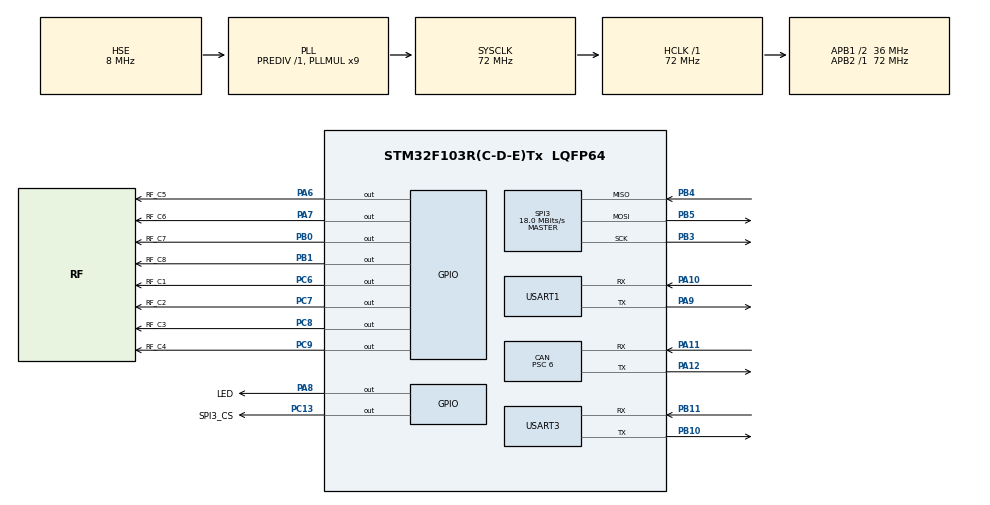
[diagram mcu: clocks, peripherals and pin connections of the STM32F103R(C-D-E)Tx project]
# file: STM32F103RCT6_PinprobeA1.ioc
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CAN.ABOM=ENABLE
CAN.AWUM=ENABLE
CAN.BS1=CAN_BS1_12TQ
CAN.CalculateBaudRate=428571
CAN.CalculateTimeBit=2333
CAN.CalculateTimeQuantum=166.66666666666669
CAN.NART=ENABLE
CAN.Prescaler=6
CAN.TXFP=ENABLE
Dma.Request0=USART1_RX
Dma.Request1=USART1_TX
Dma.Request2=USART3_RX
Dma.Request3=USART3_TX
Dma.Request4=SPI3_TX
Dma.Request5=SPI3_RX
Dma.SPI3_RX.5.Direction=DMA_PERIPH_TO_MEMORY
Dma.SPI3_RX.5.Instance=DMA2_Channel1
Dma.SPI3_RX.5.MemDataAlignment=DMA_MDATAALIGN_BYTE
Dma.SPI3_RX.5.MemInc=DMA_MINC_ENABLE
Dma.SPI3_RX.5.Mode=DMA_NORMAL
Dma.SPI3_RX.5.PeriphDataAlignment=DMA_PDATAALIGN_BYTE
Dma.SPI3_RX.5.PeriphInc=DMA_PINC_DISABLE
Dma.SPI3_RX.5.Priority=DMA_PRIORITY_LOW
Dma.SPI3_TX.4.Direction=DMA_MEMORY_TO_PERIPH
Dma.SPI3_TX.4.Instance=DMA2_Channel2
Dma.SPI3_TX.4.MemDataAlignment=DMA_MDATAALIGN_BYTE
Dma.SPI3_TX.4.MemInc=DMA_MINC_ENABLE
Dma.SPI3_TX.4.Mode=DMA_NORMAL
Dma.SPI3_TX.4.PeriphDataAlignment=DMA_PDATAALIGN_BYTE
Dma.SPI3_TX.4.PeriphInc=DMA_PINC_DISABLE
Dma.SPI3_TX.4.Priority=DMA_PRIORITY_LOW
Dma.USART1_RX.0.Direction=DMA_PERIPH_TO_MEMORY
Dma.USART1_RX.0.Instance=DMA1_Channel5
Dma.USART1_RX.0.MemDataAlignment=DMA_MDATAALIGN_BYTE
Dma.USART1_RX.0.MemInc=DMA_MINC_ENABLE
Dma.USART1_RX.0.Mode=DMA_NORMAL
Dma.USART1_RX.0.PeriphDataAlignment=DMA_PDATAALIGN_BYTE
Dma.USART1_RX.0.PeriphInc=DMA_PINC_DISABLE
Dma.USART1_RX.0.Priority=DMA_PRIORITY_HIGH
Dma.USART1_TX.1.Direction=DMA_MEMORY_TO_PERIPH
Dma.USART1_TX.1.Instance=DMA1_Channel4
Dma.USART1_TX.1.MemDataAlignment=DMA_MDATAALIGN_BYTE
Dma.USART1_TX.1.MemInc=DMA_MINC_ENABLE
Dma.USART1_TX.1.Mode=DMA_NORMAL
Dma.USART1_TX.1.PeriphDataAlignment=DMA_PDATAALIGN_BYTE
Dma.USART1_TX.1.PeriphInc=DMA_PINC_DISABLE
Dma.USART1_TX.1.Priority=DMA_PRIORITY_LOW
Dma.USART3_RX.2.Direction=DMA_PERIPH_TO_MEMORY
Dma.USART3_RX.2.Instance=DMA1_Channel3
Dma.USART3_RX.2.MemDataAlignment=DMA_MDATAALIGN_BYTE
Dma.USART3_RX.2.MemInc=DMA_MINC_ENABLE
Dma.USART3_RX.2.Mode=DMA_NORMAL
Dma.USART3_RX.2.PeriphDataAlignment=DMA_PDATAALIGN_BYTE
Dma.USART3_RX.2.PeriphInc=DMA_PINC_DISABLE
Dma.USART3_RX.2.Priority=DMA_PRIORITY_HIGH
Dma.USART3_TX.3.Direction=DMA_MEMORY_TO_PERIPH
Dma.USART3_TX.3.Instance=DMA1_Channel2
Dma.USART3_TX.3.MemDataAlignment=DMA_MDATAALIGN_BYTE
Dma.USART3_TX.3.MemInc=DMA_MINC_ENABLE
Dma.USART3_TX.3.Mode=DMA_NORMAL
Dma.USART3_TX.3.PeriphDataAlignment=DMA_PDATAALIGN_BYTE
Dma.USART3_TX.3.PeriphInc=DMA_PINC_DISABLE
Dma.USART3_TX.3.Priority=DMA_PRIORITY_LOW
FREERTOS.Queues01=CanRxQueue,16,CanFrame_t,0,Dynamic,NULL,NULL;CanTxQueue,16,CanFrame_t,0,Dynamic,NULL,NULL
FREERTOS.Tasks01=defaultTask,8,128,StartDefaultTask,Default,NULL,Dynamic,NULL,NULL;SCPI,8,1024,SCPITask,As weak,NULL,Dynamic,NULL,NULL;ModBus,26,512,ModBusTask,As weak,NULL,Dynamic,NULL,NULL;WatchDog,8,128,WatchDogTask,As weak,NULL,Dynamic,NULL,NULL;StateVector,25,512,StateVectorTask,As weak,NULL,Dynamic,NULL,NULL;CANRx,26,512,CANRxTask,As weak,NULL,Dynamic,NULL,NULL;CANTx,24,512,CANTxTask,As weak,NULL,Dynamic,NULL,NULL;CANProtocol,25,768,CANProtocolTask,As weak,NULL,Dynamic,NULL,NULL;Snapshot,8,512,SnapshotTask,As weak,NULL,Dynamic,NULL,NULL
FREERTOS.Timers01=SysTimer,SysTimerCallback,osTimerPeriodic,As weak,NULL,Dynamic,NULL
FREERTOS.configTOTAL_HEAP_SIZE=28672
IWDG.Prescaler=IWDG_PRESCALER_64
IWDG.Reload=2500
Mcu.Family=STM32F1
Mcu.Name=STM32F103R(C-D-E)Tx
Mcu.Package=LQFP64
NVIC.CAN1_RX1_IRQn=true\:5\:0\:false\:false\:true\:true\:true\:true\:true
NVIC.CAN1_SCE_IRQn=true\:5\:0\:false\:false\:true\:true\:true\:true\:true
NVIC.DMA1_Channel2_IRQn=true\:5\:0\:true\:false\:true\:true\:false\:true\:true
NVIC.DMA1_Channel3_IRQn=true\:5\:0\:true\:false\:true\:true\:false\:true\:true
NVIC.DMA1_Channel4_IRQn=true\:5\:0\:true\:false\:true\:true\:false\:true\:true
NVIC.DMA1_Channel5_IRQn=true\:5\:0\:true\:false\:true\:true\:false\:true\:true
NVIC.DMA2_Channel1_IRQn=true\:5\:0\:false\:false\:true\:true\:false\:true\:true
NVIC.DMA2_Channel2_IRQn=true\:5\:0\:false\:false\:true\:true\:false\:true\:true
NVIC.PriorityGroup=NVIC_PRIORITYGROUP_4
NVIC.SPI3_IRQn=true\:5\:0\:false\:false\:true\:true\:true\:true\:true
NVIC.TIM1_UP_IRQn=true\:5\:0\:false\:false\:true\:true\:true\:true\:true
NVIC.TIM5_IRQn=true\:15\:0\:true\:false\:true\:false\:false\:true\:true
NVIC.TimeBase=TIM5_IRQn
NVIC.TimeBaseIP=TIM5
NVIC.USART1_IRQn=true\:6\:0\:true\:false\:true\:true\:false\:true\:true
NVIC.USART3_IRQn=true\:6\:0\:true\:false\:true\:true\:false\:true\:true
NVIC.USB_HP_CAN1_TX_IRQn=true\:5\:0\:false\:false\:true\:true\:true\:true\:true
NVIC.USB_LP_CAN1_RX0_IRQn=true\:5\:0\:false\:false\:true\:true\:true\:true\:true
PA10.Mode=Asynchronous
PA10.Signal=USART1_RX
PA11.Mode=CAN_Activate
PA11.Signal=CAN_RX
PA12.Mode=CAN_Activate
PA12.Signal=CAN_TX
PA13.Mode=Serial_Wire
PA13.Signal=SYS_JTMS-SWDIO
PA14.Mode=Serial_Wire
PA14.Signal=SYS_JTCK-SWCLK
PA6.GPIO_Label=RF_C5
PA6.Signal=GPIO_Output
PA7.GPIO_Label=RF_C6
PA7.Signal=GPIO_Output
PA8.GPIO_Label=LED
PA8.Signal=GPIO_Output
PA9.Mode=Asynchronous
PA9.Signal=USART1_TX
PB0.GPIO_Label=RF_C7
PB0.Signal=GPIO_Output
PB1.GPIO_Label=RF_C8
PB1.Signal=GPIO_Output
PB10.Mode=Asynchronous
PB10.Signal=USART3_TX
PB11.Mode=Asynchronous
PB11.Signal=USART3_RX
PB3.Mode=Full_Duplex_Master
PB3.Signal=SPI3_SCK
PB4.Mode=Full_Duplex_Master
PB4.Signal=SPI3_MISO
PB5.Mode=Full_Duplex_Master
PB5.Signal=SPI3_MOSI
PC13-TAMPER-RTC.GPIO_Label=SPI3_CS
PC13-TAMPER-RTC.Signal=GPIO_Output
PC14-OSC32_IN.Mode=LSE-External-Oscillator
PC14-OSC32_IN.Signal=RCC_OSC32_IN
PC15-OSC32_OUT.Mode=LSE-External-Oscillator
PC15-OSC32_OUT.Signal=RCC_OSC32_OUT
PC6.GPIO_Label=RF_C1
PC6.PinState=GPIO_PIN_SET
PC6.Signal=GPIO_Output
PC7.GPIO_Label=RF_C2
PC7.Signal=GPIO_Output
PC8.GPIO_Label=RF_C3
PC8.Signal=GPIO_Output
PC9.GPIO_Label=RF_C4
PC9.Signal=GPIO_Output
PD0-OSC_IN.Mode=HSE-External-Oscillator
PD0-OSC_IN.Signal=RCC_OSC_IN
PD1-OSC_OUT.Mode=HSE-External-Oscillator
PD1-OSC_OUT.Signal=RCC_OSC_OUT
ProjectManager.HeapSize=0x200
ProjectManager.StackSize=0x400
ProjectManager.TargetToolchain=MDK-ARM V5.32
RCC.AHBFreq_Value=72000000
RCC.APB1CLKDivider=RCC_HCLK_DIV2
RCC.APB1Freq_Value=36000000
RCC.APB1TimFreq_Value=72000000
RCC.APB2Freq_Value=72000000
RCC.APB2TimFreq_Value=72000000
RCC.HCLKFreq_Value=72000000
RCC.PLLMUL=RCC_PLL_MUL9
RCC.PLLSourceVirtual=RCC_PLLSOURCE_HSE
RCC.SYSCLKFreq_VALUE=72000000
RCC.SYSCLKSource=RCC_SYSCLKSOURCE_PLLCLK
RCC.USBFreq_Value=48000000
RCC.USBPrescaler=RCC_USBCLKSOURCE_PLL_DIV1_5
SPI3.CalculateBaudRate=18.0 MBits/s
SPI3.Direction=SPI_DIRECTION_2LINES
SPI3.Mode=SPI_MODE_MASTER
SPI3.VirtualType=VM_MASTER
TIM1.AutoReloadPreload=TIM_AUTORELOAD_PRELOAD_ENABLE
TIM1.Period=999
TIM1.Prescaler=71
USART1.VirtualMode=VM_ASYNC
USART3.VirtualMode=VM_ASYNC
VP_FREERTOS_VS_CMSIS_V2.Mode=CMSIS_V2
VP_IWDG_VS_IWDG.Mode=IWDG_Activate
VP_SYS_VS_tim5.Mode=TIM5
VP_TIM1_VS_ClockSourceINT.Mode=Internal
board=custom

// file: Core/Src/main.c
/* USER CODE BEGIN Header */
/**
  ******************************************************************************
  * @file           : main.c
  * @brief          : Main program body
  ******************************************************************************
  * @attention
  *
  * Copyright (c) 2024 STMicroelectronics.
  * All rights reserved.
  *
  * This software is licensed under terms that can be found in the LICENSE file
  * in the root directory of this software component.
  * If no LICENSE file comes with this software, it is provided AS-IS.
  *
  ******************************************************************************
  */
/* USER CODE END Header */
#include "main.h"
#include "cmsis_os.h"
#include "can.h"
#include "dma.h"
#include "iwdg.h"
#include "spi.h"
#include "tim.h"
#include "usart.h"
#include "gpio.h"

/* USER CODE BEGIN Includes */
// #include "StateMachine.h"   /* [DEPRECATED] 旧状态机, 已被 RamVector/state_vector 替代 */
#include "BsmRelay.h"
#include "RS485.h"
#include "scpi/scpi.h"
#include "scpi-def.h"
#include "flash.h"
#include "app_log.h"
#include "ota_manager.h"
#include "ota_manifest.h"
#include "output_state.h"
#include "io_probe.h"
/* USER CODE END Includes */

/* USER CODE BEGIN PD */
extern DMA_HandleTypeDef hdma_usart1_tx;
extern DMA_HandleTypeDef hdma_usart3_tx;

extern uint8_t* Uart1_BuffIsReady;
extern uint8_t* Uart1_BuffOccupied;

extern uint8_t* Uart3_BuffIsReady;
extern uint8_t* Uart3_BuffOccupied;

/* USER CODE END PD */

void SystemClock_Config(void);
void MX_FREERTOS_Init(void);

/* USER CODE BEGIN 0 */

/* ── P0.2: 复位原因 ── */
static uint8_t reset_reason;  /* 0=未知, 1=POR, 2=IWDG, 3=NRST, 4=Soft */

static void ResetReason_Capture(void)
{
    uint32_t csr = RCC->CSR;
    if (csr & RCC_CSR_IWDGRSTF)      reset_reason = 2;
    else if (csr & RCC_CSR_SFTRSTF)  reset_reason = 4;
    else if (csr & RCC_CSR_PINRSTF)  reset_reason = 3;
    else if (csr & RCC_CSR_PORRSTF)  reset_reason = 1;
    __HAL_RCC_CLEAR_RESET_FLAGS();   /* 清除标志, 下次才能正确识别 */
}

static const char* ResetReason_Str(void)
{
    switch (reset_reason) {
        case 1: return "POR";
        case 2: return "IWDG";
        case 3: return "NRST";
        case 4: return "Soft";
        default: return "?";
    }
}

/**
  * @brief 上电自检 (Power-On Self Test)
  * @note  检查 RCC 时钟、Flash 配置 CRC、RS485 从机响应。
  *        每条打印后延时 5ms 等待 DMA TX 完成，避免非阻塞 printf 丢帧。
  * @retval 0=全部通过, 非0=故障码 (bit0=RCC, bit1=Flash, bit2=RS485)
  */
static uint8_t PowerOnSelfTest(void)
{
    uint8_t fault = 0;

    /* 等 PC 端串口软件就绪 (冷启时 MCU 比 PC 快) */
    HAL_Delay(500);

    Uart1_Printf("[POST] === Self Test ===\r\n");
    HAL_Delay(5);

    /* 1. RCC 时钟 */
    {
        uint32_t sysclk = HAL_RCC_GetSysClockFreq();
        if (__HAL_RCC_GET_FLAG(RCC_FLAG_HSERDY) == RESET)  fault |= 0x01;
        if (sysclk < 71000000UL || sysclk > 73000000UL)    fault |= 0x01;
        Uart1_Printf("[POST] RCC   %s (SYSCLK=%luHz)\r\n",
                     (fault & 0x01) ? "FAIL" : "OK", sysclk);
        HAL_Delay(5);
    }

    /* 1b. 复位原因 */
    Uart1_Printf("[POST] Reset reason: %s\r\n", ResetReason_Str());
    HAL_Delay(5);

    /* 2. Flash 配置 CRC */
    {
        if (!Flash_IsValid()) {
            fault |= 0x02;
            Uart1_Printf("[POST] Flash FAIL (using defaults)\r\n");
        } else {
            Uart1_Printf("[POST] Flash OK (v=%08lX)\r\n",
                         (unsigned int)Flash_GetConfig()->version);
        }
        HAL_Delay(5);
    }

    /* 3. RS485 从机响应 (IO_Read 约 60ms/次, 含内部 HAL_Delay) */
    {
        uint8_t io_buf[2] = {0};
        bool ok = IO_Read(3, 2, io_buf);
        if (!ok) fault |= 0x04;
        Uart1_Printf("[POST] RS485 %s (IN=0x%02X,0x%02X)\r\n",
                     ok ? "OK" : "FAIL", io_buf[0], io_buf[1]);
        HAL_Delay(5);
    }

    /* 3b. IO 板型号 (读保持寄存器 0) */
    {
        uint8_t model_hi = 0, model_lo = 0;
        if (ReadHoldingRegister(0, &model_hi, &model_lo)) {
            Uart1_Printf("[POST] Board model: 0x%02X%02X\r\n", model_hi, model_lo);
        } else {
            fault |= 0x04;
            Uart1_Printf("[POST] Board model: FAIL\r\n");
        }
        HAL_Delay(5);
    }

    Uart1_Printf("[POST] === %s (code=0x%02X) ===\r\n",
                 fault ? "FAILED" : "PASSED", fault);
    HAL_Delay(5);

    return fault;
}

/* USER CODE END 0 */

int main(void)
{

  /* USER CODE BEGIN 1 */
  SCB->VTOR = OTA_APP_BASE_ADDR;
  __DSB();
  __ISB();

  /* USER CODE END 1 */

  /* MCU Configuration--------------------------------------------------------*/

  /* Reset of all peripherals, Initializes the Flash interface and the Systick. */
  HAL_Init();

  /* Configure the system clock */
  SystemClock_Config();

  /* USER CODE BEGIN SysInit */
  ResetReason_Capture();   /* 尽早读 RCC->CSR, 在 HAL 清除前 */
  /* USER CODE END SysInit */

  /* Initialize all configured peripherals */
  MX_GPIO_Init();
  MX_DMA_Init();
  MX_IWDG_Init();
  MX_USART1_UART_Init();
  MX_USART3_UART_Init();
  MX_SPI3_Init();
  MX_CAN_Init();
  MX_TIM1_Init();
  /* USER CODE BEGIN 2 */

  __HAL_UART_ENABLE_IT(&huart1, UART_IT_IDLE);
  __HAL_UART_ENABLE_IT(&huart3, UART_IT_IDLE);

  __HAL_DMA_ENABLE_IT(&hdma_usart1_tx, DMA_IT_TC);
  __HAL_DMA_ENABLE_IT(&hdma_usart3_tx, DMA_IT_TC);

  __HAL_UART_CLEAR_IDLEFLAG(&huart1);
  __HAL_UART_CLEAR_IDLEFLAG(&huart3);

  Uart1_ResetRuntime();
  HAL_UART_Receive_DMA(&huart1, Uart1_BuffOccupied, MAX_RX_LEN);
  HAL_UART_Receive_DMA(&huart3, Uart3_BuffOccupied, MAX_RX_LEN);

  /* 初始化 Flash 配置 (从 Flash 加载或使用默认值) */
  Flash_Init();
  OutputState_Reset();
  IOProbe_Reset();

  /* 初始化 SCPI 上下文，使用运行时 IDN 缓冲区 (而非宏常量) */
  SCPI_Init(&scpi_context,
    scpi_commands,
    &scpi_interface,
    scpi_units_def,
    scpi_idn_buf1, scpi_idn_buf2, scpi_idn_buf3, scpi_idn_buf4,
    scpi_input_buffer, SCPI_INPUT_BUFFER_LENGTH,
    scpi_error_queue_data, SCPI_ERROR_QUEUE_SIZE);

  /* 从 Flash 同步 IDN 字符串到运行时缓冲区 (覆盖默认值) */
  SCPI_SyncIdnFromFlash();

  AppLog_Init(0);
  AppLog_SetSink(AppLog_UartSink);
  OTA_ManagerInit();
  (void)OTA_ConfirmRunningApp();

  /* 上电自检 */
  (void)PowerOnSelfTest();

  /* USER CODE END 2 */

  /* Init scheduler */
  osKernelInitialize();  /* Call init function for freertos objects (in cmsis_os2.c) */
  MX_FREERTOS_Init();

  /* Start scheduler */
  osKernelStart();

  /* We should never get here as control is now taken by the scheduler */

  /* Infinite loop */
  while (1)
  {

  }
}

void SystemClock_Config(void)
{
  RCC_OscInitTypeDef RCC_OscInitStruct = {0};
  RCC_ClkInitTypeDef RCC_ClkInitStruct = {0};

  /** Initializes the RCC Oscillators according to the specified parameters
  * in the RCC_OscInitTypeDef structure.
  */
  RCC_OscInitStruct.OscillatorType = RCC_OSCILLATORTYPE_LSI|RCC_OSCILLATORTYPE_HSE;
  RCC_OscInitStruct.HSEState = RCC_HSE_ON;
  RCC_OscInitStruct.HSEPredivValue = RCC_HSE_PREDIV_DIV1;
  RCC_OscInitStruct.HSIState = RCC_HSI_ON;
  RCC_OscInitStruct.LSIState = RCC_LSI_ON;
  RCC_OscInitStruct.PLL.PLLState = RCC_PLL_ON;
  RCC_OscInitStruct.PLL.PLLSource = RCC_PLLSOURCE_HSE;
  RCC_OscInitStruct.PLL.PLLMUL = RCC_PLL_MUL9;
  if (HAL_RCC_OscConfig(&RCC_OscInitStruct) != HAL_OK)
  {
    Error_Handler();
  }

  /** Initializes the CPU, AHB and APB buses clocks
  */
  RCC_ClkInitStruct.ClockType = RCC_CLOCKTYPE_HCLK|RCC_CLOCKTYPE_SYSCLK
                              |RCC_CLOCKTYPE_PCLK1|RCC_CLOCKTYPE_PCLK2;
  RCC_ClkInitStruct.SYSCLKSource = RCC_SYSCLKSOURCE_PLLCLK;
  RCC_ClkInitStruct.AHBCLKDivider = RCC_SYSCLK_DIV1;
  RCC_ClkInitStruct.APB1CLKDivider = RCC_HCLK_DIV2;
  RCC_ClkInitStruct.APB2CLKDivider = RCC_HCLK_DIV1;

  if (HAL_RCC_ClockConfig(&RCC_ClkInitStruct, FLASH_LATENCY_2) != HAL_OK)
  {
    Error_Handler();
  }
}

void HAL_TIM_PeriodElapsedCallback(TIM_HandleTypeDef *htim)
{
  if (htim->Instance == TIM5)
  {
    HAL_IncTick();
  }
  /* USER CODE BEGIN Callback 1 */
  if (htim->Instance == TIM1)
  {
    tim1_ms++;
  }
  /* USER CODE END Callback 1 */
}

void Error_Handler(void)
{
  __disable_irq();
  while (1)
  {
  }
}

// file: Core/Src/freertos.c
/* USER CODE BEGIN Header */
/**
  ******************************************************************************
  * File Name          : freertos.c
  * Description        : Code for freertos applications
  ******************************************************************************
  * @attention
  *
  * Copyright (c) 2024 STMicroelectronics.
  * All rights reserved.
  *
  * This software is licensed under terms that can be found in the LICENSE file
  * in the root directory of this software component.
  * If no LICENSE file comes with this software, it is provided AS-IS.
  *
  ******************************************************************************
  */
/* USER CODE END Header */

#include "FreeRTOS.h"
#include "task.h"
#include "main.h"
#include "cmsis_os.h"

/* USER CODE BEGIN Includes */
#include "iwdg.h"
/* USER CODE END Includes */

/* USER CODE BEGIN PD */
#define MODBUS_POLL_DIV 2U
/* USER CODE END PD */

/* Definitions for defaultTask */
osThreadId_t defaultTaskHandle;
const osThreadAttr_t defaultTask_attributes = {
  .name = "defaultTask",
  .stack_size = 128 * 4,
  .priority = (osPriority_t) osPriorityNormal,
};
/* Definitions for SCPI */
osThreadId_t SCPIHandle;
const osThreadAttr_t SCPI_attributes = {
  .name = "SCPI",
  .stack_size = 1024 * 4,
  .priority = (osPriority_t) osPriorityLow,
};
/* Definitions for ModBus */
osThreadId_t ModBusHandle;
const osThreadAttr_t ModBus_attributes = {
  .name = "ModBus",
  .stack_size = 512 * 4,
  .priority = (osPriority_t) osPriorityNormal1,
};
/* Definitions for WatchDog */
osThreadId_t WatchDogHandle;
const osThreadAttr_t WatchDog_attributes = {
  .name = "WatchDog",
  .stack_size = 128 * 4,
  .priority = (osPriority_t) osPriorityLow,
};
/* Definitions for StateVector */
osThreadId_t StateVectorHandle;
const osThreadAttr_t StateVector_attributes = {
  .name = "StateVector",
  .stack_size = 512 * 4,
  .priority = (osPriority_t) osPriorityNormal,
};
/* Definitions for SysTimer */
osTimerId_t SysTimerHandle;
const osTimerAttr_t SysTimer_attributes = {
  .name = "SysTimer"
};

void StartDefaultTask(void *argument);
void SCPITask(void *argument);
void ModBusTask(void *argument);
void WatchDogTask(void *argument);
void StateVectorTask(void *argument);
void SysTimerCallback(void *argument);

void MX_FREERTOS_Init(void); /* (MISRA C 2004 rule 8.1) */

void MX_FREERTOS_Init(void) {

  /* Create the timer(s) */
  /* creation of SysTimer */
  SysTimerHandle = osTimerNew(SysTimerCallback, osTimerPeriodic, NULL, &SysTimer_attributes);

  /* USER CODE BEGIN RTOS_TIMERS */
  osTimerStart(SysTimerHandle, 25);  /* 25ms 系统节拍 */
  /* USER CODE END RTOS_TIMERS */

  /* Create the thread(s) */
  /* creation of defaultTask */
  defaultTaskHandle = osThreadNew(StartDefaultTask, NULL, &defaultTask_attributes);

  /* creation of SCPI */
  SCPIHandle = osThreadNew(SCPITask, NULL, &SCPI_attributes);

  /* creation of ModBus */
  ModBusHandle = osThreadNew(ModBusTask, NULL, &ModBus_attributes);

  /* creation of WatchDog */
  WatchDogHandle = osThreadNew(WatchDogTask, NULL, &WatchDog_attributes);

  /* creation of StateVector */
  StateVectorHandle = osThreadNew(StateVectorTask, NULL, &StateVector_attributes);

}

void StartDefaultTask(void *argument)
{
  /* USER CODE BEGIN StartDefaultTask */
  /* 集群健康监控 — 单机为占位, 多机时扫描 node_status[1..7] */
  osDelay(2000);
  for(;;)
  {
    // TODO: 多机模式时检查 ram_vector.node_status[i].heartbeat/online
    osDelay(1000); /* 1s 周期 */
  }
  /* USER CODE END StartDefaultTask */
}

__weak void SCPITask(void *argument)
{
  for(;;)
  {
    osDelay(1);
  }
}

__weak void ModBusTask(void *argument)
{
  for(;;)
  {
    osDelay(1);
  }
}

__weak void WatchDogTask(void *argument)
{
  /* USER CODE BEGIN WatchDogTask */
  /* Infinite loop */
  for(;;)
  {
    HAL_IWDG_Refresh(&hiwdg); // 独立看门狗喂狗，超时约4秒
    osDelay(500);             // 每500ms喂一次，留足余量
  }
  /* USER CODE END WatchDogTask */
}

__weak void StateVectorTask(void *argument)
{
  for(;;)
  {
    osDelay(1);
  }
}

/* SysTimerCallback function */
__weak void SysTimerCallback(void *argument)
{
  /* USER CODE BEGIN SysTimerCallback */
  static uint8_t modbus_div = 0U;
  (void)argument;

  osThreadFlagsSet(StateVectorHandle, 0x01);  /* 25ms state machine */

  if (++modbus_div >= MODBUS_POLL_DIV) {
    modbus_div = 0U;
    osThreadFlagsSet(ModBusHandle, 0x01);     /* 50ms RS485 polling */
  }
  /* USER CODE END SysTimerCallback */
}
